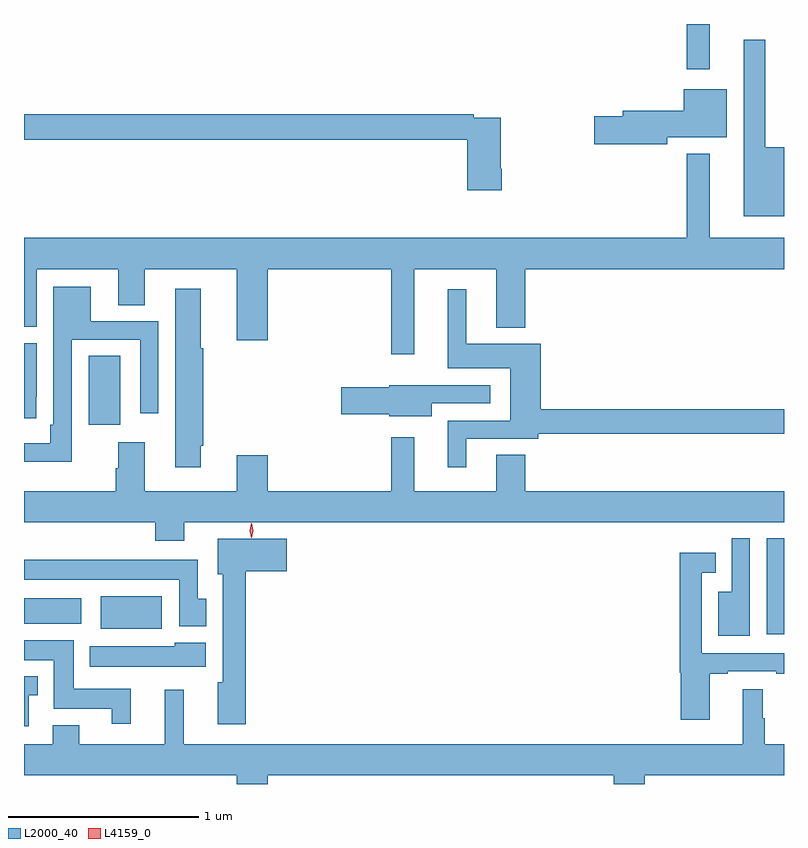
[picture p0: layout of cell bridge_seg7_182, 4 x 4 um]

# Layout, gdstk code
import gdstk
lib = gdstk.Library(unit=1e-6, precision=1e-09)
def R(c, l, rs):  # rectangles x0, y0, x1, y1
    for r in rs: c.add(gdstk.rectangle(r[:2], r[2:], *l))
def P(c, l, *ps):  # polygons
    for p in ps: c.add(gdstk.Polygon(p, *l))
L2000_40 = (2000, 40)
L4159_0 = (4159, 0)

bridge_seg7_182 = lib.new_cell('bridge_seg7_182')
R(bridge_seg7_182, L2000_40, [(491.474,1034.658,491.564,1035.163), (487.967,1034.687,488.29,1034.857), (487.564,1034.714,487.864,1034.848), (487.904,1035.762,488.071,1036.124), (491.052,1037.631,491.173,1037.87)])
P(bridge_seg7_182, L2000_40, [(491.564,1037.221),(491.465,1037.221),(491.465,1037.788),(491.351,1037.788),(491.351,1036.859),(491.564,1036.859)],
  [(490.95,1037.273),(491.263,1037.273),(491.263,1037.527),(491.036,1037.527),(491.036,1037.414),(490.715,1037.414),(490.715,1037.384),(490.566,1037.384),(490.566,1037.237),(490.95,1037.237)],
  [(490.079,1037.107),(490.074,1037.107),(490.074,1037.376),(489.932,1037.376),(489.932,1037.396),(487.564,1037.396),(487.564,1037.26),(489.896,1037.26),(489.896,1036.995),(490.079,1036.995)],
  [(487.564,1036.276),(487.63,1036.276),(487.63,1036.58),(488.06,1036.58),(488.06,1036.39),(488.2,1036.39),(488.2,1036.58),(488.684,1036.58),(488.684,1036.206),(488.848,1036.206),(488.848,1036.58),(489.498,1036.58),(489.498,1036.131),(489.619,1036.131),(489.619,1036.58),(490.049,1036.58),(490.049,1036.271),(490.202,1036.271),(490.202,1036.58),(491.564,1036.58),(491.564,1036.744),(491.173,1036.744),(491.173,1037.188),(491.052,1037.188),(491.052,1036.744),(487.564,1036.744)],
  [(487.815,1036.209),(488.175,1036.209),(488.175,1035.822),(488.271,1035.822),(488.271,1036.305),(487.915,1036.305),(487.915,1036.486),(487.719,1036.486),(487.719,1035.76),(487.703,1035.76),(487.703,1035.664),(487.564,1035.664),(487.564,1035.566),(487.815,1035.566)],
  [(488.494,1035.649),(488.507,1035.649),(488.507,1036.164),(488.494,1036.164),(488.494,1036.477),(488.36,1036.477),(488.36,1035.537),(488.494,1035.537)],
  [(489.892,1035.687),(490.27,1035.687),(490.27,1035.714),(491.564,1035.714),(491.564,1035.842),(490.283,1035.842),(490.283,1036.186),(489.892,1036.186),(489.892,1036.474),(489.794,1036.474),(489.794,1036.058),(490.124,1036.058),(490.124,1035.783),(489.794,1035.783),(489.794,1035.537),(489.892,1035.537)],
  [(487.629,1035.907),(487.63,1035.907),(487.63,1036.191),(487.564,1036.191),(487.564,1035.795),(487.629,1035.795)],
  [(489.709,1035.873),(490.018,1035.873),(490.018,1035.969),(489.705,1035.969),(489.705,1035.97),(489.486,1035.97),(489.486,1035.959),(489.234,1035.959),(489.234,1035.817),(489.486,1035.817),(489.486,1035.806),(489.709,1035.806)],
  [(488.407,1035.248),(491.564,1035.248),(491.564,1035.412),(490.202,1035.412),(490.202,1035.602),(490.049,1035.602),(490.049,1035.412),(489.619,1035.412),(489.619,1035.694),(489.498,1035.694),(489.498,1035.412),(488.848,1035.412),(488.848,1035.601),(488.684,1035.601),(488.684,1035.412),(488.2,1035.412),(488.2,1035.67),(488.06,1035.67),(488.06,1035.533),(488.048,1035.533),(488.048,1035.412),(487.564,1035.412),(487.564,1035.248),(488.255,1035.248),(488.255,1035.149),(488.407,1035.149)],
  [(491.385,1035.163),(491.289,1035.163),(491.289,1034.881),(491.219,1034.881),(491.219,1034.649),(491.385,1034.649)],
  [(488.732,1034.99),(488.947,1034.99),(488.947,1035.16),(488.585,1035.16),(488.585,1034.973),(488.609,1034.973),(488.609,1034.406),(488.585,1034.406),(488.585,1034.184),(488.732,1034.184)],
  [(491.173,1034.451),(491.269,1034.451),(491.269,1034.463),(491.522,1034.463),(491.522,1034.451),(491.564,1034.451),(491.564,1034.559),(491.13,1034.559),(491.13,1034.982),(491.204,1034.982),(491.204,1035.088),(491.014,1035.088),(491.014,1034.456),(491.021,1034.456),(491.021,1034.208),(491.173,1034.208)],
  [(488.524,1034.844),(488.479,1034.844),(488.479,1035.049),(487.564,1035.049),(487.564,1034.945),(488.382,1034.945),(488.382,1034.7),(488.524,1034.7)],
  [(488.126,1034.371),(487.825,1034.371),(487.825,1034.626),(487.564,1034.626),(487.564,1034.522),(487.721,1034.522),(487.721,1034.267),(488.027,1034.267),(488.027,1034.187),(488.126,1034.187)],
  [(488.521,1034.614),(488.358,1034.614),(488.358,1034.596),(487.91,1034.596),(487.91,1034.486),(488.521,1034.486)],
  [(487.59,1034.337),(487.636,1034.337),(487.636,1034.437),(487.564,1034.437),(487.564,1034.175),(487.59,1034.175)],
  [(488.848,1033.916),(490.667,1033.916),(490.667,1033.87),(490.832,1033.87),(490.832,1033.916),(491.564,1033.916),(491.564,1034.08),(491.462,1034.08),(491.462,1034.216),(491.452,1034.216),(491.452,1034.368),(491.348,1034.368),(491.348,1034.08),(488.405,1034.08),(488.405,1034.365),(488.306,1034.365),(488.306,1034.08),(487.855,1034.08),(487.855,1034.179),(487.715,1034.179),(487.715,1034.08),(487.564,1034.08),(487.564,1033.916),(488.684,1033.916),(488.684,1033.87),(488.848,1033.87)])
P(bridge_seg7_182, L4159_0, [(488.761,1035.165),(488.761,1035.165),(488.751,1035.204),(488.761,1035.243),(488.761,1035.243),(488.762,1035.243),(488.771,1035.204),(488.762,1035.165)])

lib.write_gds('bridge_seg7_182.gds')
